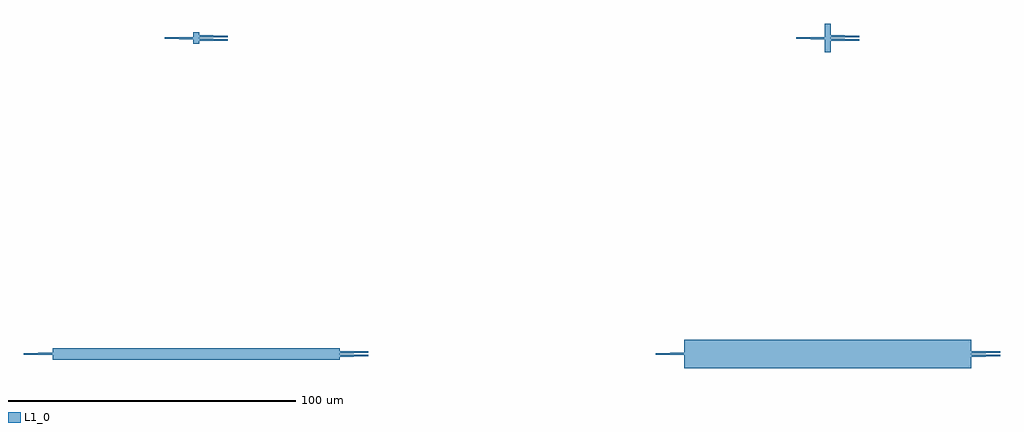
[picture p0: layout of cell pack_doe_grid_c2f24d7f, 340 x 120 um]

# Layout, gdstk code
import gdstk
lib = gdstk.Library(unit=1e-6, precision=1e-09)
def R(c, l, rs):  # rectangles x0, y0, x1, y1
    for r in rs: c.add(gdstk.rectangle(r[:2], r[2:], *l))
def P(c, l, *ps):  # polygons
    for p in ps: c.add(gdstk.Polygon(p, *l))
L1_0 = (1, 0)

mmi1x2_5329808d = lib.new_cell('mmi1x2_5329808d')
R(mmi1x2_5329808d, L1_0, [(0,-2,2,2)])
P(mmi1x2_5329808d, L1_0, [(-10,0.25),(0,0.5),(0,-0.5),(-10,-0.25)],
  [(12,0.375),(2,0.125),(2,1.125),(12,0.875)],
  [(12,-0.875),(2,-1.125),(2,-0.125),(12,-0.375)])

mmi1x2_dedc212c = lib.new_cell('mmi1x2_dedc212c')
R(mmi1x2_dedc212c, L1_0, [(0,-5,2,5)])
P(mmi1x2_dedc212c, L1_0, [(-10,0.25),(0,0.5),(0,-0.5),(-10,-0.25)],
  [(12,0.375),(2,0.125),(2,1.125),(12,0.875)],
  [(12,-0.875),(2,-1.125),(2,-0.125),(12,-0.375)])

mmi1x2_8da5838f = lib.new_cell('mmi1x2_8da5838f')
R(mmi1x2_8da5838f, L1_0, [(0,-2,100,2)])
P(mmi1x2_8da5838f, L1_0, [(-10,0.25),(0,0.5),(0,-0.5),(-10,-0.25)],
  [(110,0.375),(100,0.125),(100,1.125),(110,0.875)],
  [(110,-0.875),(100,-1.125),(100,-0.125),(110,-0.375)])

mmi1x2_bf444554 = lib.new_cell('mmi1x2_bf444554')
R(mmi1x2_bf444554, L1_0, [(0,-5,100,5)])
P(mmi1x2_bf444554, L1_0, [(-10,0.25),(0,0.5),(0,-0.5),(-10,-0.25)],
  [(110,0.375),(100,0.125),(100,1.125),(110,0.875)],
  [(110,-0.875),(100,-1.125),(100,-0.125),(110,-0.375)])

pack_doe_grid_c2f24d7f = lib.new_cell('pack_doe_grid_c2f24d7f')
pack_doe_grid_c2f24d7f.add(gdstk.Reference(mmi1x2_5329808d, (49,110)))
pack_doe_grid_c2f24d7f.add(gdstk.Reference(mmi1x2_dedc212c, (269,110)))
pack_doe_grid_c2f24d7f.add(gdstk.Reference(mmi1x2_8da5838f, (0,0)))
pack_doe_grid_c2f24d7f.add(gdstk.Reference(mmi1x2_bf444554, (220,0)))

lib.write_gds('pack_doe_grid_c2f24d7f.gds')
